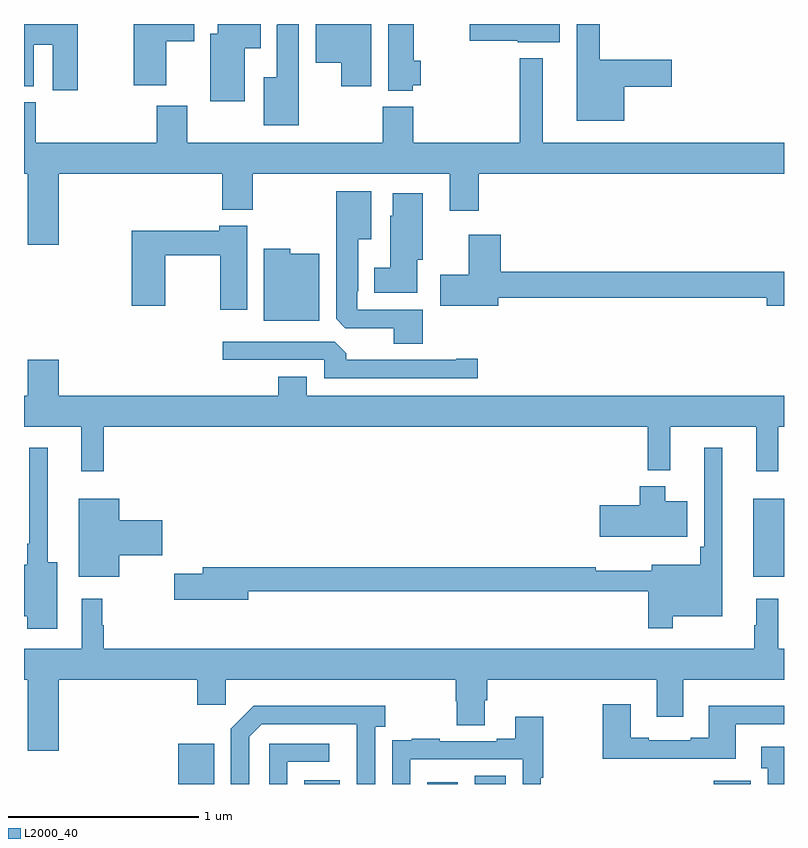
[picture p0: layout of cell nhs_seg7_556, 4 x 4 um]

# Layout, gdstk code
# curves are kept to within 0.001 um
import gdstk
lib = gdstk.Library(unit=1e-6, precision=1e-09)
def R(c, l, rs):  # rectangles x0, y0, x1, y1
    for r in rs: c.add(gdstk.rectangle(r[:2], r[2:], *l))
def P(c, l, *ps):  # polygons
    for p in ps: c.add(gdstk.Polygon(p, *l))
L2000_40 = (2000, 40)

nhs_seg7_556 = lib.new_cell('nhs_seg7_556')
R(nhs_seg7_556, L2000_40, [(153.812,1068,154,1068.211), (154.475,1068,154.663,1068.019), (155.123,1068,155.284,1068.01), (155.372,1068,155.536,1068.044), (156.629,1068,156.826,1068.016), (156.839,1069.091,157,1069.501)])
P(nhs_seg7_556, L2000_40, [(153.282,1072),(153,1072),(153,1071.673),(153.052,1071.673),(153.052,1071.892),(153.152,1071.892),(153.152,1071.651),(153.282,1071.651)],
  [(155.046,1071.677),(155.089,1071.677),(155.089,1071.807),(155.05,1071.807),(155.05,1072),(154.916,1072),(154.916,1071.65),(155.046,1071.65)],
  [(154.828,1072),(154.535,1072),(154.535,1071.797),(154.67,1071.797),(154.67,1071.672),(154.828,1071.672)],
  [(153.748,1071.91),(153.895,1071.91),(153.895,1072),(153.578,1072),(153.578,1071.677),(153.748,1071.677)],
  [(155.821,1072),(155.346,1072),(155.346,1071.911),(155.598,1071.911),(155.598,1071.905),(155.821,1071.905)],
  [(156.16,1071.67),(156.409,1071.67),(156.409,1071.812),(156.031,1071.812),(156.031,1072),(155.909,1072),(155.909,1071.491),(156.16,1071.491)],
  [(154.162,1071.872),(154.246,1071.872),(154.246,1072),(154.019,1072),(154.019,1071.949),(153.98,1071.949),(153.98,1071.593),(154.162,1071.593)],
  [(154.447,1072),(154.335,1072),(154.335,1071.995),(154.331,1071.995),(154.331,1071.721),(154.262,1071.721),(154.262,1071.467),(154.447,1071.467)],
  [(153.184,1071.212),(154.043,1071.212),(154.043,1071.023),(154.203,1071.023),(154.203,1071.212),(155.24,1071.212),(155.24,1071.018),(155.393,1071.018),(155.393,1071.212),(157,1071.212),(157,1071.376),(155.731,1071.376),(155.731,1071.82),(155.61,1071.82),(155.61,1071.376),(155.048,1071.376),(155.048,1071.565),(154.888,1071.565),(154.888,1071.376),(153.858,1071.376),(153.858,1071.571),(153.698,1071.571),(153.698,1071.376),(153.062,1071.376),(153.062,1071.588),(153,1071.588),(153,1071.212),(153.02,1071.212),(153.02,1070.838),(153.184,1070.838)],
  [(155.099,1070.496),(154.755,1070.496),(154.755,1070.593),(154.759,1070.593),(154.759,1070.867),(154.828,1070.867),(154.828,1071.121),(154.643,1071.121),(154.643,1070.449),(154.692,1070.4),(154.946,1070.4),(154.946,1070.317),(155.099,1070.317)],
  [(155.071,1070.76),(155.098,1070.76),(155.098,1071.109),(154.94,1071.109),(154.94,1070.991),(154.928,1070.991),(154.928,1070.716),(154.844,1070.716),(154.844,1070.585),(155.071,1070.585)],
  [(154.174,1070.938),(154.028,1070.938),(154.028,1070.911),(153.566,1070.911),(153.566,1070.517),(153.744,1070.517),(153.744,1070.782),(154.033,1070.782),(154.033,1070.496),(154.174,1070.496)],
  [(155.497,1070.56),(156.908,1070.56),(156.908,1070.518),(157,1070.518),(157,1070.696),(155.51,1070.696),(155.51,1070.89),(155.342,1070.89),(155.342,1070.679),(155.19,1070.679),(155.19,1070.516),(155.497,1070.516)],
  [(154.555,1070.791),(154.401,1070.791),(154.401,1070.818),(154.262,1070.818),(154.262,1070.438),(154.555,1070.438)],
  [(155.389,1070.237),(155.276,1070.237),(155.276,1070.232),(154.697,1070.232),(154.697,1070.266),(154.635,1070.328),(154.047,1070.328),(154.047,1070.232),(154.581,1070.232),(154.581,1070.136),(155.389,1070.136)],
  [(153.419,1069.88),(156.283,1069.88),(156.283,1069.652),(156.401,1069.652),(156.401,1069.88),(156.854,1069.88),(156.854,1069.647),(156.971,1069.647),(156.971,1069.88),(157,1069.88),(157,1070.044),(154.489,1070.044),(154.489,1070.143),(154.337,1070.143),(154.337,1070.044),(153.184,1070.044),(153.184,1070.233),(153.02,1070.233),(153.02,1070.044),(153,1070.044),(153,1069.88),(153.302,1069.88),(153.302,1069.647),(153.419,1069.647)],
  [(153.175,1069.168),(153.124,1069.168),(153.124,1069.771),(153.027,1069.771),(153.027,1069.264),(153.017,1069.264),(153.017,1069.153),(153,1069.153),(153,1068.884),(153.017,1068.884),(153.017,1068.816),(153.175,1068.816)],
  [(156.415,1068.884),(156.676,1068.884),(156.676,1069.771),(156.579,1069.771),(156.579,1069.249),(156.559,1069.249),(156.559,1069.153),(156.305,1069.153),(156.305,1069.123),(156.009,1069.123),(156.009,1069.142),(153.941,1069.142),(153.941,1069.106),(153.792,1069.106),(153.792,1068.971),(154.18,1068.971),(154.18,1069.014),(156.286,1069.014),(156.286,1068.819),(156.415,1068.819)],
  [(156.49,1069.489),(156.376,1069.489),(156.376,1069.567),(156.242,1069.567),(156.242,1069.467),(156.03,1069.467),(156.03,1069.301),(156.49,1069.301)],
  [(153.502,1069.205),(153.727,1069.205),(153.727,1069.388),(153.502,1069.388),(153.502,1069.501),(153.287,1069.501),(153.287,1069.091),(153.502,1069.091)],
  [(153.419,1068.836),(153.412,1068.836),(153.412,1068.976),(153.303,1068.976),(153.303,1068.712),(153,1068.712),(153,1068.548),(153.02,1068.548),(153.02,1068.174),(153.184,1068.174),(153.184,1068.548),(153.911,1068.548),(153.911,1068.417),(154.062,1068.417),(154.062,1068.548),(155.273,1068.548),(155.273,1068.435),(155.278,1068.435),(155.278,1068.31),(155.425,1068.31),(155.425,1068.442),(155.438,1068.442),(155.438,1068.548),(156.329,1068.548),(156.329,1068.354),(156.469,1068.354),(156.469,1068.548),(157,1068.548),(157,1068.712),(156.971,1068.712),(156.971,1068.976),(156.854,1068.976),(156.854,1068.836),(156.843,1068.836),(156.843,1068.712),(153.419,1068.712)],
  [(156.745,1068.315),(157,1068.315),(157,1068.412),(156.605,1068.412),(156.605,1068.244),(156.509,1068.244),(156.509,1068.231),(156.289,1068.231),(156.289,1068.244),(156.193,1068.244),(156.193,1068.421),(156.046,1068.421),(156.046,1068.134),(156.745,1068.134)],
  [(154.185,1068.249),(154.251,1068.315),(154.751,1068.315),(154.752,1068),(154.848,1068),(154.848,1068.302),(154.9,1068.302),(154.9,1068.412),(154.21,1068.412),(154.089,1068.291),(154.089,1068),(154.185,1068)],
  [(155.034,1068.129),(155.625,1068.129),(155.625,1068),(155.721,1068),(155.721,1068.032),(155.734,1068.032),(155.734,1068.355),(155.585,1068.355),(155.585,1068.238),(155.489,1068.238),(155.489,1068.225),(155.189,1068.225),(155.189,1068.238),(155.041,1068.238),(155.041,1068.231),(154.939,1068.231),(154.939,1068.122),(154.938,1068.122),(154.938,1068),(155.034,1068)],
  [(154.386,1068.117),(154.606,1068.117),(154.606,1068.213),(154.29,1068.213),(154.29,1068),(154.386,1068)],
  [(157,1068.196),(156.881,1068.196),(156.881,1068.083),(156.914,1068.083),(156.914,1068),(157,1068)])

lib.write_gds('nhs_seg7_556.gds')
